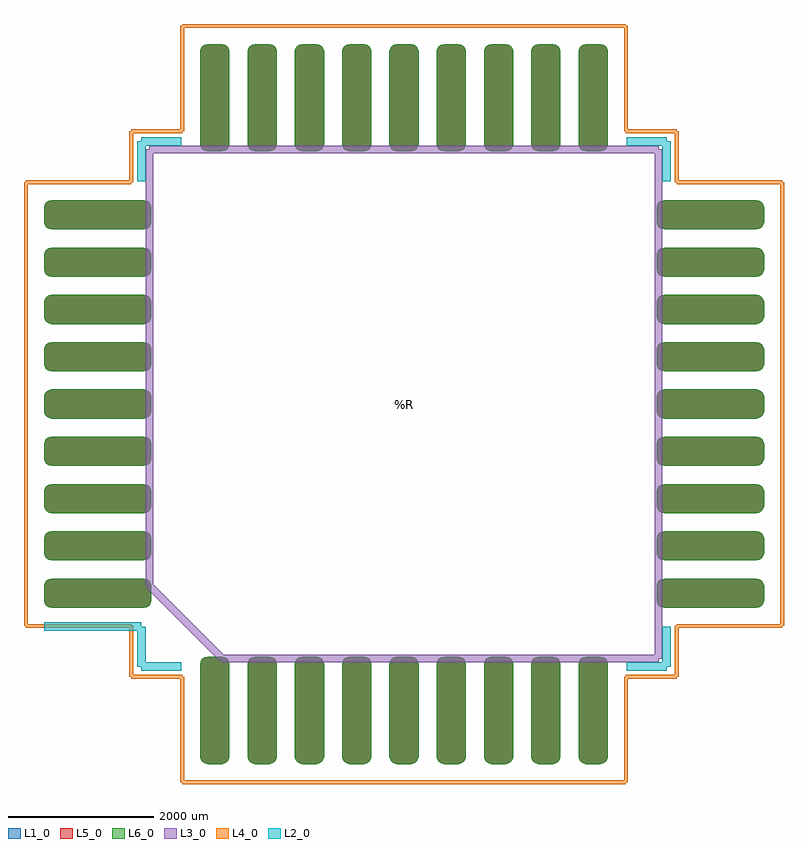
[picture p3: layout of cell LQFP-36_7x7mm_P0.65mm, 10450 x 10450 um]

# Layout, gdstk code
import gdstk
lib = gdstk.Library(unit=1e-6, precision=1e-09)
def P(c, l, *ps):  # polygons
    for p in ps: c.add(gdstk.Polygon(p, *l))
L1_0 = (1, 0)
L2_0 = (2, 0)
L3_0 = (3, 0)
L4_0 = (4, 0)
L5_0 = (5, 0)
L6_0 = (6, 0)

lqfp_36_7x7mm_p0_65mm = lib.new_cell('LQFP-36_7x7mm_P0.65mm')
P(lqfp_36_7x7mm_p0_65mm, L1_0, [(-3575,-2800),(-3537,-2792),(-3504,-2771),(-3483,-2738),(-3475,-2700),(-3475,-2500),(-3483,-2462),(-3504,-2429),(-3537,-2408),(-3575,-2400),(-4850,-2400),(-4888,-2408),(-4921,-2429),(-4942,-2462),(-4950,-2500),(-4950,-2700),(-4942,-2738),(-4921,-2771),(-4888,-2792),(-4850,-2800)],
  [(-3575,-2150),(-3537,-2142),(-3504,-2121),(-3483,-2088),(-3475,-2050),(-3475,-1850),(-3483,-1812),(-3504,-1779),(-3537,-1758),(-3575,-1750),(-4850,-1750),(-4888,-1758),(-4921,-1779),(-4942,-1812),(-4950,-1850),(-4950,-2050),(-4942,-2088),(-4921,-2121),(-4888,-2142),(-4850,-2150)],
  [(-3575,-1500),(-3537,-1492),(-3504,-1471),(-3483,-1438),(-3475,-1400),(-3475,-1200),(-3483,-1162),(-3504,-1129),(-3537,-1108),(-3575,-1100),(-4850,-1100),(-4888,-1108),(-4921,-1129),(-4942,-1162),(-4950,-1200),(-4950,-1400),(-4942,-1438),(-4921,-1471),(-4888,-1492),(-4850,-1500)],
  [(-3575,-850),(-3537,-842),(-3504,-821),(-3483,-788),(-3475,-750),(-3475,-550),(-3483,-512),(-3504,-479),(-3537,-458),(-3575,-450),(-4850,-450),(-4888,-458),(-4921,-479),(-4942,-512),(-4950,-550),(-4950,-750),(-4942,-788),(-4921,-821),(-4888,-842),(-4850,-850)],
  [(-3575,-200),(-3537,-192),(-3504,-171),(-3483,-138),(-3475,-100),(-3475,100),(-3483,138),(-3504,171),(-3537,192),(-3575,200),(-4850,200),(-4888,192),(-4921,171),(-4942,138),(-4950,100),(-4950,-100),(-4942,-138),(-4921,-171),(-4888,-192),(-4850,-200)],
  [(-3575,450),(-3537,458),(-3504,479),(-3483,512),(-3475,550),(-3475,750),(-3483,788),(-3504,821),(-3537,842),(-3575,850),(-4850,850),(-4888,842),(-4921,821),(-4942,788),(-4950,750),(-4950,550),(-4942,512),(-4921,479),(-4888,458),(-4850,450)],
  [(-3575,1100),(-3537,1108),(-3504,1129),(-3483,1162),(-3475,1200),(-3475,1400),(-3483,1438),(-3504,1471),(-3537,1492),(-3575,1500),(-4850,1500),(-4888,1492),(-4921,1471),(-4942,1438),(-4950,1400),(-4950,1200),(-4942,1162),(-4921,1129),(-4888,1108),(-4850,1100)],
  [(-3575,1750),(-3537,1758),(-3504,1779),(-3483,1812),(-3475,1850),(-3475,2050),(-3483,2088),(-3504,2121),(-3537,2142),(-3575,2150),(-4850,2150),(-4888,2142),(-4921,2121),(-4942,2088),(-4950,2050),(-4950,1850),(-4942,1812),(-4921,1779),(-4888,1758),(-4850,1750)],
  [(-3575,2400),(-3537,2408),(-3504,2429),(-3483,2462),(-3475,2500),(-3475,2700),(-3483,2738),(-3504,2771),(-3537,2792),(-3575,2800),(-4850,2800),(-4888,2792),(-4921,2771),(-4942,2738),(-4950,2700),(-4950,2500),(-4942,2462),(-4921,2429),(-4888,2408),(-4850,2400)],
  [(-2500,3475),(-2462,3483),(-2429,3504),(-2408,3537),(-2400,3575),(-2400,4850),(-2408,4888),(-2429,4921),(-2462,4942),(-2500,4950),(-2700,4950),(-2738,4942),(-2771,4921),(-2792,4888),(-2800,4850),(-2800,3575),(-2792,3537),(-2771,3504),(-2738,3483),(-2700,3475)],
  [(-1850,3475),(-1812,3483),(-1779,3504),(-1758,3537),(-1750,3575),(-1750,4850),(-1758,4888),(-1779,4921),(-1812,4942),(-1850,4950),(-2050,4950),(-2088,4942),(-2121,4921),(-2142,4888),(-2150,4850),(-2150,3575),(-2142,3537),(-2121,3504),(-2088,3483),(-2050,3475)],
  [(-1200,3475),(-1162,3483),(-1129,3504),(-1108,3537),(-1100,3575),(-1100,4850),(-1108,4888),(-1129,4921),(-1162,4942),(-1200,4950),(-1400,4950),(-1438,4942),(-1471,4921),(-1492,4888),(-1500,4850),(-1500,3575),(-1492,3537),(-1471,3504),(-1438,3483),(-1400,3475)],
  [(-550,3475),(-512,3483),(-479,3504),(-458,3537),(-450,3575),(-450,4850),(-458,4888),(-479,4921),(-512,4942),(-550,4950),(-750,4950),(-788,4942),(-821,4921),(-842,4888),(-850,4850),(-850,3575),(-842,3537),(-821,3504),(-788,3483),(-750,3475)],
  [(100,3475),(138,3483),(171,3504),(192,3537),(200,3575),(200,4850),(192,4888),(171,4921),(138,4942),(100,4950),(-100,4950),(-138,4942),(-171,4921),(-192,4888),(-200,4850),(-200,3575),(-192,3537),(-171,3504),(-138,3483),(-100,3475)],
  [(750,3475),(788,3483),(821,3504),(842,3537),(850,3575),(850,4850),(842,4888),(821,4921),(788,4942),(750,4950),(550,4950),(512,4942),(479,4921),(458,4888),(450,4850),(450,3575),(458,3537),(479,3504),(512,3483),(550,3475)],
  [(1400,3475),(1438,3483),(1471,3504),(1492,3537),(1500,3575),(1500,4850),(1492,4888),(1471,4921),(1438,4942),(1400,4950),(1200,4950),(1162,4942),(1129,4921),(1108,4888),(1100,4850),(1100,3575),(1108,3537),(1129,3504),(1162,3483),(1200,3475)],
  [(2050,3475),(2088,3483),(2121,3504),(2142,3537),(2150,3575),(2150,4850),(2142,4888),(2121,4921),(2088,4942),(2050,4950),(1850,4950),(1812,4942),(1779,4921),(1758,4888),(1750,4850),(1750,3575),(1758,3537),(1779,3504),(1812,3483),(1850,3475)],
  [(2700,3475),(2738,3483),(2771,3504),(2792,3537),(2800,3575),(2800,4850),(2792,4888),(2771,4921),(2738,4942),(2700,4950),(2500,4950),(2462,4942),(2429,4921),(2408,4888),(2400,4850),(2400,3575),(2408,3537),(2429,3504),(2462,3483),(2500,3475)],
  [(4850,2400),(4888,2408),(4921,2429),(4942,2462),(4950,2500),(4950,2700),(4942,2738),(4921,2771),(4888,2792),(4850,2800),(3575,2800),(3537,2792),(3504,2771),(3483,2738),(3475,2700),(3475,2500),(3483,2462),(3504,2429),(3537,2408),(3575,2400)],
  [(4850,1750),(4888,1758),(4921,1779),(4942,1812),(4950,1850),(4950,2050),(4942,2088),(4921,2121),(4888,2142),(4850,2150),(3575,2150),(3537,2142),(3504,2121),(3483,2088),(3475,2050),(3475,1850),(3483,1812),(3504,1779),(3537,1758),(3575,1750)],
  [(4850,1100),(4888,1108),(4921,1129),(4942,1162),(4950,1200),(4950,1400),(4942,1438),(4921,1471),(4888,1492),(4850,1500),(3575,1500),(3537,1492),(3504,1471),(3483,1438),(3475,1400),(3475,1200),(3483,1162),(3504,1129),(3537,1108),(3575,1100)],
  [(4850,450),(4888,458),(4921,479),(4942,512),(4950,550),(4950,750),(4942,788),(4921,821),(4888,842),(4850,850),(3575,850),(3537,842),(3504,821),(3483,788),(3475,750),(3475,550),(3483,512),(3504,479),(3537,458),(3575,450)],
  [(4850,-200),(4888,-192),(4921,-171),(4942,-138),(4950,-100),(4950,100),(4942,138),(4921,171),(4888,192),(4850,200),(3575,200),(3537,192),(3504,171),(3483,138),(3475,100),(3475,-100),(3483,-138),(3504,-171),(3537,-192),(3575,-200)],
  [(4850,-850),(4888,-842),(4921,-821),(4942,-788),(4950,-750),(4950,-550),(4942,-512),(4921,-479),(4888,-458),(4850,-450),(3575,-450),(3537,-458),(3504,-479),(3483,-512),(3475,-550),(3475,-750),(3483,-788),(3504,-821),(3537,-842),(3575,-850)],
  [(4850,-1500),(4888,-1492),(4921,-1471),(4942,-1438),(4950,-1400),(4950,-1200),(4942,-1162),(4921,-1129),(4888,-1108),(4850,-1100),(3575,-1100),(3537,-1108),(3504,-1129),(3483,-1162),(3475,-1200),(3475,-1400),(3483,-1438),(3504,-1471),(3537,-1492),(3575,-1500)],
  [(4850,-2150),(4888,-2142),(4921,-2121),(4942,-2088),(4950,-2050),(4950,-1850),(4942,-1812),(4921,-1779),(4888,-1758),(4850,-1750),(3575,-1750),(3537,-1758),(3504,-1779),(3483,-1812),(3475,-1850),(3475,-2050),(3483,-2088),(3504,-2121),(3537,-2142),(3575,-2150)],
  [(4850,-2800),(4888,-2792),(4921,-2771),(4942,-2738),(4950,-2700),(4950,-2500),(4942,-2462),(4921,-2429),(4888,-2408),(4850,-2400),(3575,-2400),(3537,-2408),(3504,-2429),(3483,-2462),(3475,-2500),(3475,-2700),(3483,-2738),(3504,-2771),(3537,-2792),(3575,-2800)],
  [(2700,-4950),(2738,-4942),(2771,-4921),(2792,-4888),(2800,-4850),(2800,-3575),(2792,-3537),(2771,-3504),(2738,-3483),(2700,-3475),(2500,-3475),(2462,-3483),(2429,-3504),(2408,-3537),(2400,-3575),(2400,-4850),(2408,-4888),(2429,-4921),(2462,-4942),(2500,-4950)],
  [(2050,-4950),(2088,-4942),(2121,-4921),(2142,-4888),(2150,-4850),(2150,-3575),(2142,-3537),(2121,-3504),(2088,-3483),(2050,-3475),(1850,-3475),(1812,-3483),(1779,-3504),(1758,-3537),(1750,-3575),(1750,-4850),(1758,-4888),(1779,-4921),(1812,-4942),(1850,-4950)],
  [(1400,-4950),(1438,-4942),(1471,-4921),(1492,-4888),(1500,-4850),(1500,-3575),(1492,-3537),(1471,-3504),(1438,-3483),(1400,-3475),(1200,-3475),(1162,-3483),(1129,-3504),(1108,-3537),(1100,-3575),(1100,-4850),(1108,-4888),(1129,-4921),(1162,-4942),(1200,-4950)],
  [(750,-4950),(788,-4942),(821,-4921),(842,-4888),(850,-4850),(850,-3575),(842,-3537),(821,-3504),(788,-3483),(750,-3475),(550,-3475),(512,-3483),(479,-3504),(458,-3537),(450,-3575),(450,-4850),(458,-4888),(479,-4921),(512,-4942),(550,-4950)],
  [(100,-4950),(138,-4942),(171,-4921),(192,-4888),(200,-4850),(200,-3575),(192,-3537),(171,-3504),(138,-3483),(100,-3475),(-100,-3475),(-138,-3483),(-171,-3504),(-192,-3537),(-200,-3575),(-200,-4850),(-192,-4888),(-171,-4921),(-138,-4942),(-100,-4950)],
  [(-550,-4950),(-512,-4942),(-479,-4921),(-458,-4888),(-450,-4850),(-450,-3575),(-458,-3537),(-479,-3504),(-512,-3483),(-550,-3475),(-750,-3475),(-788,-3483),(-821,-3504),(-842,-3537),(-850,-3575),(-850,-4850),(-842,-4888),(-821,-4921),(-788,-4942),(-750,-4950)],
  [(-1200,-4950),(-1162,-4942),(-1129,-4921),(-1108,-4888),(-1100,-4850),(-1100,-3575),(-1108,-3537),(-1129,-3504),(-1162,-3483),(-1200,-3475),(-1400,-3475),(-1438,-3483),(-1471,-3504),(-1492,-3537),(-1500,-3575),(-1500,-4850),(-1492,-4888),(-1471,-4921),(-1438,-4942),(-1400,-4950)],
  [(-1850,-4950),(-1812,-4942),(-1779,-4921),(-1758,-4888),(-1750,-4850),(-1750,-3575),(-1758,-3537),(-1779,-3504),(-1812,-3483),(-1850,-3475),(-2050,-3475),(-2088,-3483),(-2121,-3504),(-2142,-3537),(-2150,-3575),(-2150,-4850),(-2142,-4888),(-2121,-4921),(-2088,-4942),(-2050,-4950)],
  [(-2500,-4950),(-2462,-4942),(-2429,-4921),(-2408,-4888),(-2400,-4850),(-2400,-3575),(-2408,-3537),(-2429,-3504),(-2462,-3483),(-2500,-3475),(-2700,-3475),(-2738,-3483),(-2771,-3504),(-2792,-3537),(-2800,-3575),(-2800,-4850),(-2792,-4888),(-2771,-4921),(-2738,-4942),(-2700,-4950)])
P(lqfp_36_7x7mm_p0_65mm, L5_0, [(-3575,-2800),(-3537,-2792),(-3504,-2771),(-3483,-2738),(-3475,-2700),(-3475,-2500),(-3483,-2462),(-3504,-2429),(-3537,-2408),(-3575,-2400),(-4850,-2400),(-4888,-2408),(-4921,-2429),(-4942,-2462),(-4950,-2500),(-4950,-2700),(-4942,-2738),(-4921,-2771),(-4888,-2792),(-4850,-2800)],
  [(-3575,-2150),(-3537,-2142),(-3504,-2121),(-3483,-2088),(-3475,-2050),(-3475,-1850),(-3483,-1812),(-3504,-1779),(-3537,-1758),(-3575,-1750),(-4850,-1750),(-4888,-1758),(-4921,-1779),(-4942,-1812),(-4950,-1850),(-4950,-2050),(-4942,-2088),(-4921,-2121),(-4888,-2142),(-4850,-2150)],
  [(-3575,-1500),(-3537,-1492),(-3504,-1471),(-3483,-1438),(-3475,-1400),(-3475,-1200),(-3483,-1162),(-3504,-1129),(-3537,-1108),(-3575,-1100),(-4850,-1100),(-4888,-1108),(-4921,-1129),(-4942,-1162),(-4950,-1200),(-4950,-1400),(-4942,-1438),(-4921,-1471),(-4888,-1492),(-4850,-1500)],
  [(-3575,-850),(-3537,-842),(-3504,-821),(-3483,-788),(-3475,-750),(-3475,-550),(-3483,-512),(-3504,-479),(-3537,-458),(-3575,-450),(-4850,-450),(-4888,-458),(-4921,-479),(-4942,-512),(-4950,-550),(-4950,-750),(-4942,-788),(-4921,-821),(-4888,-842),(-4850,-850)],
  [(-3575,-200),(-3537,-192),(-3504,-171),(-3483,-138),(-3475,-100),(-3475,100),(-3483,138),(-3504,171),(-3537,192),(-3575,200),(-4850,200),(-4888,192),(-4921,171),(-4942,138),(-4950,100),(-4950,-100),(-4942,-138),(-4921,-171),(-4888,-192),(-4850,-200)],
  [(-3575,450),(-3537,458),(-3504,479),(-3483,512),(-3475,550),(-3475,750),(-3483,788),(-3504,821),(-3537,842),(-3575,850),(-4850,850),(-4888,842),(-4921,821),(-4942,788),(-4950,750),(-4950,550),(-4942,512),(-4921,479),(-4888,458),(-4850,450)],
  [(-3575,1100),(-3537,1108),(-3504,1129),(-3483,1162),(-3475,1200),(-3475,1400),(-3483,1438),(-3504,1471),(-3537,1492),(-3575,1500),(-4850,1500),(-4888,1492),(-4921,1471),(-4942,1438),(-4950,1400),(-4950,1200),(-4942,1162),(-4921,1129),(-4888,1108),(-4850,1100)],
  [(-3575,1750),(-3537,1758),(-3504,1779),(-3483,1812),(-3475,1850),(-3475,2050),(-3483,2088),(-3504,2121),(-3537,2142),(-3575,2150),(-4850,2150),(-4888,2142),(-4921,2121),(-4942,2088),(-4950,2050),(-4950,1850),(-4942,1812),(-4921,1779),(-4888,1758),(-4850,1750)],
  [(-3575,2400),(-3537,2408),(-3504,2429),(-3483,2462),(-3475,2500),(-3475,2700),(-3483,2738),(-3504,2771),(-3537,2792),(-3575,2800),(-4850,2800),(-4888,2792),(-4921,2771),(-4942,2738),(-4950,2700),(-4950,2500),(-4942,2462),(-4921,2429),(-4888,2408),(-4850,2400)],
  [(-2500,3475),(-2462,3483),(-2429,3504),(-2408,3537),(-2400,3575),(-2400,4850),(-2408,4888),(-2429,4921),(-2462,4942),(-2500,4950),(-2700,4950),(-2738,4942),(-2771,4921),(-2792,4888),(-2800,4850),(-2800,3575),(-2792,3537),(-2771,3504),(-2738,3483),(-2700,3475)],
  [(-1850,3475),(-1812,3483),(-1779,3504),(-1758,3537),(-1750,3575),(-1750,4850),(-1758,4888),(-1779,4921),(-1812,4942),(-1850,4950),(-2050,4950),(-2088,4942),(-2121,4921),(-2142,4888),(-2150,4850),(-2150,3575),(-2142,3537),(-2121,3504),(-2088,3483),(-2050,3475)],
  [(-1200,3475),(-1162,3483),(-1129,3504),(-1108,3537),(-1100,3575),(-1100,4850),(-1108,4888),(-1129,4921),(-1162,4942),(-1200,4950),(-1400,4950),(-1438,4942),(-1471,4921),(-1492,4888),(-1500,4850),(-1500,3575),(-1492,3537),(-1471,3504),(-1438,3483),(-1400,3475)],
  [(-550,3475),(-512,3483),(-479,3504),(-458,3537),(-450,3575),(-450,4850),(-458,4888),(-479,4921),(-512,4942),(-550,4950),(-750,4950),(-788,4942),(-821,4921),(-842,4888),(-850,4850),(-850,3575),(-842,3537),(-821,3504),(-788,3483),(-750,3475)],
  [(100,3475),(138,3483),(171,3504),(192,3537),(200,3575),(200,4850),(192,4888),(171,4921),(138,4942),(100,4950),(-100,4950),(-138,4942),(-171,4921),(-192,4888),(-200,4850),(-200,3575),(-192,3537),(-171,3504),(-138,3483),(-100,3475)],
  [(750,3475),(788,3483),(821,3504),(842,3537),(850,3575),(850,4850),(842,4888),(821,4921),(788,4942),(750,4950),(550,4950),(512,4942),(479,4921),(458,4888),(450,4850),(450,3575),(458,3537),(479,3504),(512,3483),(550,3475)],
  [(1400,3475),(1438,3483),(1471,3504),(1492,3537),(1500,3575),(1500,4850),(1492,4888),(1471,4921),(1438,4942),(1400,4950),(1200,4950),(1162,4942),(1129,4921),(1108,4888),(1100,4850),(1100,3575),(1108,3537),(1129,3504),(1162,3483),(1200,3475)],
  [(2050,3475),(2088,3483),(2121,3504),(2142,3537),(2150,3575),(2150,4850),(2142,4888),(2121,4921),(2088,4942),(2050,4950),(1850,4950),(1812,4942),(1779,4921),(1758,4888),(1750,4850),(1750,3575),(1758,3537),(1779,3504),(1812,3483),(1850,3475)],
  [(2700,3475),(2738,3483),(2771,3504),(2792,3537),(2800,3575),(2800,4850),(2792,4888),(2771,4921),(2738,4942),(2700,4950),(2500,4950),(2462,4942),(2429,4921),(2408,4888),(2400,4850),(2400,3575),(2408,3537),(2429,3504),(2462,3483),(2500,3475)],
  [(4850,2400),(4888,2408),(4921,2429),(4942,2462),(4950,2500),(4950,2700),(4942,2738),(4921,2771),(4888,2792),(4850,2800),(3575,2800),(3537,2792),(3504,2771),(3483,2738),(3475,2700),(3475,2500),(3483,2462),(3504,2429),(3537,2408),(3575,2400)],
  [(4850,1750),(4888,1758),(4921,1779),(4942,1812),(4950,1850),(4950,2050),(4942,2088),(4921,2121),(4888,2142),(4850,2150),(3575,2150),(3537,2142),(3504,2121),(3483,2088),(3475,2050),(3475,1850),(3483,1812),(3504,1779),(3537,1758),(3575,1750)],
  [(4850,1100),(4888,1108),(4921,1129),(4942,1162),(4950,1200),(4950,1400),(4942,1438),(4921,1471),(4888,1492),(4850,1500),(3575,1500),(3537,1492),(3504,1471),(3483,1438),(3475,1400),(3475,1200),(3483,1162),(3504,1129),(3537,1108),(3575,1100)],
  [(4850,450),(4888,458),(4921,479),(4942,512),(4950,550),(4950,750),(4942,788),(4921,821),(4888,842),(4850,850),(3575,850),(3537,842),(3504,821),(3483,788),(3475,750),(3475,550),(3483,512),(3504,479),(3537,458),(3575,450)],
  [(4850,-200),(4888,-192),(4921,-171),(4942,-138),(4950,-100),(4950,100),(4942,138),(4921,171),(4888,192),(4850,200),(3575,200),(3537,192),(3504,171),(3483,138),(3475,100),(3475,-100),(3483,-138),(3504,-171),(3537,-192),(3575,-200)],
  [(4850,-850),(4888,-842),(4921,-821),(4942,-788),(4950,-750),(4950,-550),(4942,-512),(4921,-479),(4888,-458),(4850,-450),(3575,-450),(3537,-458),(3504,-479),(3483,-512),(3475,-550),(3475,-750),(3483,-788),(3504,-821),(3537,-842),(3575,-850)],
  [(4850,-1500),(4888,-1492),(4921,-1471),(4942,-1438),(4950,-1400),(4950,-1200),(4942,-1162),(4921,-1129),(4888,-1108),(4850,-1100),(3575,-1100),(3537,-1108),(3504,-1129),(3483,-1162),(3475,-1200),(3475,-1400),(3483,-1438),(3504,-1471),(3537,-1492),(3575,-1500)],
  [(4850,-2150),(4888,-2142),(4921,-2121),(4942,-2088),(4950,-2050),(4950,-1850),(4942,-1812),(4921,-1779),(4888,-1758),(4850,-1750),(3575,-1750),(3537,-1758),(3504,-1779),(3483,-1812),(3475,-1850),(3475,-2050),(3483,-2088),(3504,-2121),(3537,-2142),(3575,-2150)],
  [(4850,-2800),(4888,-2792),(4921,-2771),(4942,-2738),(4950,-2700),(4950,-2500),(4942,-2462),(4921,-2429),(4888,-2408),(4850,-2400),(3575,-2400),(3537,-2408),(3504,-2429),(3483,-2462),(3475,-2500),(3475,-2700),(3483,-2738),(3504,-2771),(3537,-2792),(3575,-2800)],
  [(2700,-4950),(2738,-4942),(2771,-4921),(2792,-4888),(2800,-4850),(2800,-3575),(2792,-3537),(2771,-3504),(2738,-3483),(2700,-3475),(2500,-3475),(2462,-3483),(2429,-3504),(2408,-3537),(2400,-3575),(2400,-4850),(2408,-4888),(2429,-4921),(2462,-4942),(2500,-4950)],
  [(2050,-4950),(2088,-4942),(2121,-4921),(2142,-4888),(2150,-4850),(2150,-3575),(2142,-3537),(2121,-3504),(2088,-3483),(2050,-3475),(1850,-3475),(1812,-3483),(1779,-3504),(1758,-3537),(1750,-3575),(1750,-4850),(1758,-4888),(1779,-4921),(1812,-4942),(1850,-4950)],
  [(1400,-4950),(1438,-4942),(1471,-4921),(1492,-4888),(1500,-4850),(1500,-3575),(1492,-3537),(1471,-3504),(1438,-3483),(1400,-3475),(1200,-3475),(1162,-3483),(1129,-3504),(1108,-3537),(1100,-3575),(1100,-4850),(1108,-4888),(1129,-4921),(1162,-4942),(1200,-4950)],
  [(750,-4950),(788,-4942),(821,-4921),(842,-4888),(850,-4850),(850,-3575),(842,-3537),(821,-3504),(788,-3483),(750,-3475),(550,-3475),(512,-3483),(479,-3504),(458,-3537),(450,-3575),(450,-4850),(458,-4888),(479,-4921),(512,-4942),(550,-4950)],
  [(100,-4950),(138,-4942),(171,-4921),(192,-4888),(200,-4850),(200,-3575),(192,-3537),(171,-3504),(138,-3483),(100,-3475),(-100,-3475),(-138,-3483),(-171,-3504),(-192,-3537),(-200,-3575),(-200,-4850),(-192,-4888),(-171,-4921),(-138,-4942),(-100,-4950)],
  [(-550,-4950),(-512,-4942),(-479,-4921),(-458,-4888),(-450,-4850),(-450,-3575),(-458,-3537),(-479,-3504),(-512,-3483),(-550,-3475),(-750,-3475),(-788,-3483),(-821,-3504),(-842,-3537),(-850,-3575),(-850,-4850),(-842,-4888),(-821,-4921),(-788,-4942),(-750,-4950)],
  [(-1200,-4950),(-1162,-4942),(-1129,-4921),(-1108,-4888),(-1100,-4850),(-1100,-3575),(-1108,-3537),(-1129,-3504),(-1162,-3483),(-1200,-3475),(-1400,-3475),(-1438,-3483),(-1471,-3504),(-1492,-3537),(-1500,-3575),(-1500,-4850),(-1492,-4888),(-1471,-4921),(-1438,-4942),(-1400,-4950)],
  [(-1850,-4950),(-1812,-4942),(-1779,-4921),(-1758,-4888),(-1750,-4850),(-1750,-3575),(-1758,-3537),(-1779,-3504),(-1812,-3483),(-1850,-3475),(-2050,-3475),(-2088,-3483),(-2121,-3504),(-2142,-3537),(-2150,-3575),(-2150,-4850),(-2142,-4888),(-2121,-4921),(-2088,-4942),(-2050,-4950)],
  [(-2500,-4950),(-2462,-4942),(-2429,-4921),(-2408,-4888),(-2400,-4850),(-2400,-3575),(-2408,-3537),(-2429,-3504),(-2462,-3483),(-2500,-3475),(-2700,-3475),(-2738,-3483),(-2771,-3504),(-2792,-3537),(-2800,-3575),(-2800,-4850),(-2792,-4888),(-2771,-4921),(-2738,-4942),(-2700,-4950)])
P(lqfp_36_7x7mm_p0_65mm, L6_0, [(-3575,-2800),(-3537,-2792),(-3504,-2771),(-3483,-2738),(-3475,-2700),(-3475,-2500),(-3483,-2462),(-3504,-2429),(-3537,-2408),(-3575,-2400),(-4850,-2400),(-4888,-2408),(-4921,-2429),(-4942,-2462),(-4950,-2500),(-4950,-2700),(-4942,-2738),(-4921,-2771),(-4888,-2792),(-4850,-2800)],
  [(-3575,-2150),(-3537,-2142),(-3504,-2121),(-3483,-2088),(-3475,-2050),(-3475,-1850),(-3483,-1812),(-3504,-1779),(-3537,-1758),(-3575,-1750),(-4850,-1750),(-4888,-1758),(-4921,-1779),(-4942,-1812),(-4950,-1850),(-4950,-2050),(-4942,-2088),(-4921,-2121),(-4888,-2142),(-4850,-2150)],
  [(-3575,-1500),(-3537,-1492),(-3504,-1471),(-3483,-1438),(-3475,-1400),(-3475,-1200),(-3483,-1162),(-3504,-1129),(-3537,-1108),(-3575,-1100),(-4850,-1100),(-4888,-1108),(-4921,-1129),(-4942,-1162),(-4950,-1200),(-4950,-1400),(-4942,-1438),(-4921,-1471),(-4888,-1492),(-4850,-1500)],
  [(-3575,-850),(-3537,-842),(-3504,-821),(-3483,-788),(-3475,-750),(-3475,-550),(-3483,-512),(-3504,-479),(-3537,-458),(-3575,-450),(-4850,-450),(-4888,-458),(-4921,-479),(-4942,-512),(-4950,-550),(-4950,-750),(-4942,-788),(-4921,-821),(-4888,-842),(-4850,-850)],
  [(-3575,-200),(-3537,-192),(-3504,-171),(-3483,-138),(-3475,-100),(-3475,100),(-3483,138),(-3504,171),(-3537,192),(-3575,200),(-4850,200),(-4888,192),(-4921,171),(-4942,138),(-4950,100),(-4950,-100),(-4942,-138),(-4921,-171),(-4888,-192),(-4850,-200)],
  [(-3575,450),(-3537,458),(-3504,479),(-3483,512),(-3475,550),(-3475,750),(-3483,788),(-3504,821),(-3537,842),(-3575,850),(-4850,850),(-4888,842),(-4921,821),(-4942,788),(-4950,750),(-4950,550),(-4942,512),(-4921,479),(-4888,458),(-4850,450)],
  [(-3575,1100),(-3537,1108),(-3504,1129),(-3483,1162),(-3475,1200),(-3475,1400),(-3483,1438),(-3504,1471),(-3537,1492),(-3575,1500),(-4850,1500),(-4888,1492),(-4921,1471),(-4942,1438),(-4950,1400),(-4950,1200),(-4942,1162),(-4921,1129),(-4888,1108),(-4850,1100)],
  [(-3575,1750),(-3537,1758),(-3504,1779),(-3483,1812),(-3475,1850),(-3475,2050),(-3483,2088),(-3504,2121),(-3537,2142),(-3575,2150),(-4850,2150),(-4888,2142),(-4921,2121),(-4942,2088),(-4950,2050),(-4950,1850),(-4942,1812),(-4921,1779),(-4888,1758),(-4850,1750)],
  [(-3575,2400),(-3537,2408),(-3504,2429),(-3483,2462),(-3475,2500),(-3475,2700),(-3483,2738),(-3504,2771),(-3537,2792),(-3575,2800),(-4850,2800),(-4888,2792),(-4921,2771),(-4942,2738),(-4950,2700),(-4950,2500),(-4942,2462),(-4921,2429),(-4888,2408),(-4850,2400)],
  [(-2500,3475),(-2462,3483),(-2429,3504),(-2408,3537),(-2400,3575),(-2400,4850),(-2408,4888),(-2429,4921),(-2462,4942),(-2500,4950),(-2700,4950),(-2738,4942),(-2771,4921),(-2792,4888),(-2800,4850),(-2800,3575),(-2792,3537),(-2771,3504),(-2738,3483),(-2700,3475)],
  [(-1850,3475),(-1812,3483),(-1779,3504),(-1758,3537),(-1750,3575),(-1750,4850),(-1758,4888),(-1779,4921),(-1812,4942),(-1850,4950),(-2050,4950),(-2088,4942),(-2121,4921),(-2142,4888),(-2150,4850),(-2150,3575),(-2142,3537),(-2121,3504),(-2088,3483),(-2050,3475)],
  [(-1200,3475),(-1162,3483),(-1129,3504),(-1108,3537),(-1100,3575),(-1100,4850),(-1108,4888),(-1129,4921),(-1162,4942),(-1200,4950),(-1400,4950),(-1438,4942),(-1471,4921),(-1492,4888),(-1500,4850),(-1500,3575),(-1492,3537),(-1471,3504),(-1438,3483),(-1400,3475)],
  [(-550,3475),(-512,3483),(-479,3504),(-458,3537),(-450,3575),(-450,4850),(-458,4888),(-479,4921),(-512,4942),(-550,4950),(-750,4950),(-788,4942),(-821,4921),(-842,4888),(-850,4850),(-850,3575),(-842,3537),(-821,3504),(-788,3483),(-750,3475)],
  [(100,3475),(138,3483),(171,3504),(192,3537),(200,3575),(200,4850),(192,4888),(171,4921),(138,4942),(100,4950),(-100,4950),(-138,4942),(-171,4921),(-192,4888),(-200,4850),(-200,3575),(-192,3537),(-171,3504),(-138,3483),(-100,3475)],
  [(750,3475),(788,3483),(821,3504),(842,3537),(850,3575),(850,4850),(842,4888),(821,4921),(788,4942),(750,4950),(550,4950),(512,4942),(479,4921),(458,4888),(450,4850),(450,3575),(458,3537),(479,3504),(512,3483),(550,3475)],
  [(1400,3475),(1438,3483),(1471,3504),(1492,3537),(1500,3575),(1500,4850),(1492,4888),(1471,4921),(1438,4942),(1400,4950),(1200,4950),(1162,4942),(1129,4921),(1108,4888),(1100,4850),(1100,3575),(1108,3537),(1129,3504),(1162,3483),(1200,3475)],
  [(2050,3475),(2088,3483),(2121,3504),(2142,3537),(2150,3575),(2150,4850),(2142,4888),(2121,4921),(2088,4942),(2050,4950),(1850,4950),(1812,4942),(1779,4921),(1758,4888),(1750,4850),(1750,3575),(1758,3537),(1779,3504),(1812,3483),(1850,3475)],
  [(2700,3475),(2738,3483),(2771,3504),(2792,3537),(2800,3575),(2800,4850),(2792,4888),(2771,4921),(2738,4942),(2700,4950),(2500,4950),(2462,4942),(2429,4921),(2408,4888),(2400,4850),(2400,3575),(2408,3537),(2429,3504),(2462,3483),(2500,3475)],
  [(4850,2400),(4888,2408),(4921,2429),(4942,2462),(4950,2500),(4950,2700),(4942,2738),(4921,2771),(4888,2792),(4850,2800),(3575,2800),(3537,2792),(3504,2771),(3483,2738),(3475,2700),(3475,2500),(3483,2462),(3504,2429),(3537,2408),(3575,2400)],
  [(4850,1750),(4888,1758),(4921,1779),(4942,1812),(4950,1850),(4950,2050),(4942,2088),(4921,2121),(4888,2142),(4850,2150),(3575,2150),(3537,2142),(3504,2121),(3483,2088),(3475,2050),(3475,1850),(3483,1812),(3504,1779),(3537,1758),(3575,1750)],
  [(4850,1100),(4888,1108),(4921,1129),(4942,1162),(4950,1200),(4950,1400),(4942,1438),(4921,1471),(4888,1492),(4850,1500),(3575,1500),(3537,1492),(3504,1471),(3483,1438),(3475,1400),(3475,1200),(3483,1162),(3504,1129),(3537,1108),(3575,1100)],
  [(4850,450),(4888,458),(4921,479),(4942,512),(4950,550),(4950,750),(4942,788),(4921,821),(4888,842),(4850,850),(3575,850),(3537,842),(3504,821),(3483,788),(3475,750),(3475,550),(3483,512),(3504,479),(3537,458),(3575,450)],
  [(4850,-200),(4888,-192),(4921,-171),(4942,-138),(4950,-100),(4950,100),(4942,138),(4921,171),(4888,192),(4850,200),(3575,200),(3537,192),(3504,171),(3483,138),(3475,100),(3475,-100),(3483,-138),(3504,-171),(3537,-192),(3575,-200)],
  [(4850,-850),(4888,-842),(4921,-821),(4942,-788),(4950,-750),(4950,-550),(4942,-512),(4921,-479),(4888,-458),(4850,-450),(3575,-450),(3537,-458),(3504,-479),(3483,-512),(3475,-550),(3475,-750),(3483,-788),(3504,-821),(3537,-842),(3575,-850)],
  [(4850,-1500),(4888,-1492),(4921,-1471),(4942,-1438),(4950,-1400),(4950,-1200),(4942,-1162),(4921,-1129),(4888,-1108),(4850,-1100),(3575,-1100),(3537,-1108),(3504,-1129),(3483,-1162),(3475,-1200),(3475,-1400),(3483,-1438),(3504,-1471),(3537,-1492),(3575,-1500)],
  [(4850,-2150),(4888,-2142),(4921,-2121),(4942,-2088),(4950,-2050),(4950,-1850),(4942,-1812),(4921,-1779),(4888,-1758),(4850,-1750),(3575,-1750),(3537,-1758),(3504,-1779),(3483,-1812),(3475,-1850),(3475,-2050),(3483,-2088),(3504,-2121),(3537,-2142),(3575,-2150)],
  [(4850,-2800),(4888,-2792),(4921,-2771),(4942,-2738),(4950,-2700),(4950,-2500),(4942,-2462),(4921,-2429),(4888,-2408),(4850,-2400),(3575,-2400),(3537,-2408),(3504,-2429),(3483,-2462),(3475,-2500),(3475,-2700),(3483,-2738),(3504,-2771),(3537,-2792),(3575,-2800)],
  [(2700,-4950),(2738,-4942),(2771,-4921),(2792,-4888),(2800,-4850),(2800,-3575),(2792,-3537),(2771,-3504),(2738,-3483),(2700,-3475),(2500,-3475),(2462,-3483),(2429,-3504),(2408,-3537),(2400,-3575),(2400,-4850),(2408,-4888),(2429,-4921),(2462,-4942),(2500,-4950)],
  [(2050,-4950),(2088,-4942),(2121,-4921),(2142,-4888),(2150,-4850),(2150,-3575),(2142,-3537),(2121,-3504),(2088,-3483),(2050,-3475),(1850,-3475),(1812,-3483),(1779,-3504),(1758,-3537),(1750,-3575),(1750,-4850),(1758,-4888),(1779,-4921),(1812,-4942),(1850,-4950)],
  [(1400,-4950),(1438,-4942),(1471,-4921),(1492,-4888),(1500,-4850),(1500,-3575),(1492,-3537),(1471,-3504),(1438,-3483),(1400,-3475),(1200,-3475),(1162,-3483),(1129,-3504),(1108,-3537),(1100,-3575),(1100,-4850),(1108,-4888),(1129,-4921),(1162,-4942),(1200,-4950)],
  [(750,-4950),(788,-4942),(821,-4921),(842,-4888),(850,-4850),(850,-3575),(842,-3537),(821,-3504),(788,-3483),(750,-3475),(550,-3475),(512,-3483),(479,-3504),(458,-3537),(450,-3575),(450,-4850),(458,-4888),(479,-4921),(512,-4942),(550,-4950)],
  [(100,-4950),(138,-4942),(171,-4921),(192,-4888),(200,-4850),(200,-3575),(192,-3537),(171,-3504),(138,-3483),(100,-3475),(-100,-3475),(-138,-3483),(-171,-3504),(-192,-3537),(-200,-3575),(-200,-4850),(-192,-4888),(-171,-4921),(-138,-4942),(-100,-4950)],
  [(-550,-4950),(-512,-4942),(-479,-4921),(-458,-4888),(-450,-4850),(-450,-3575),(-458,-3537),(-479,-3504),(-512,-3483),(-550,-3475),(-750,-3475),(-788,-3483),(-821,-3504),(-842,-3537),(-850,-3575),(-850,-4850),(-842,-4888),(-821,-4921),(-788,-4942),(-750,-4950)],
  [(-1200,-4950),(-1162,-4942),(-1129,-4921),(-1108,-4888),(-1100,-4850),(-1100,-3575),(-1108,-3537),(-1129,-3504),(-1162,-3483),(-1200,-3475),(-1400,-3475),(-1438,-3483),(-1471,-3504),(-1492,-3537),(-1500,-3575),(-1500,-4850),(-1492,-4888),(-1471,-4921),(-1438,-4942),(-1400,-4950)],
  [(-1850,-4950),(-1812,-4942),(-1779,-4921),(-1758,-4888),(-1750,-4850),(-1750,-3575),(-1758,-3537),(-1779,-3504),(-1812,-3483),(-1850,-3475),(-2050,-3475),(-2088,-3483),(-2121,-3504),(-2142,-3537),(-2150,-3575),(-2150,-4850),(-2142,-4888),(-2121,-4921),(-2088,-4942),(-2050,-4950)],
  [(-2500,-4950),(-2462,-4942),(-2429,-4921),(-2408,-4888),(-2400,-4850),(-2400,-3575),(-2408,-3537),(-2429,-3504),(-2462,-3483),(-2500,-3475),(-2700,-3475),(-2738,-3483),(-2771,-3504),(-2792,-3537),(-2800,-3575),(-2800,-4850),(-2792,-4888),(-2771,-4921),(-2738,-4942),(-2700,-4950)])
lqfp_36_7x7mm_p0_65mm.add(gdstk.FlexPath([(3060,3610),(3610,3610)], 120, ends="flush", simple_path=True, layer=2, datatype=0))  # L2_0
lqfp_36_7x7mm_p0_65mm.add(gdstk.FlexPath([(3610,3610),(3610,3060)], 120, ends="flush", simple_path=True, layer=2, datatype=0))  # L2_0
lqfp_36_7x7mm_p0_65mm.add(gdstk.FlexPath([(-3060,3610),(-3610,3610)], 120, ends="flush", simple_path=True, layer=2, datatype=0))  # L2_0
lqfp_36_7x7mm_p0_65mm.add(gdstk.FlexPath([(-3610,3610),(-3610,3060)], 120, ends="flush", simple_path=True, layer=2, datatype=0))  # L2_0
lqfp_36_7x7mm_p0_65mm.add(gdstk.FlexPath([(3060,-3610),(3610,-3610)], 120, ends="flush", simple_path=True, layer=2, datatype=0))  # L2_0
lqfp_36_7x7mm_p0_65mm.add(gdstk.FlexPath([(3610,-3610),(3610,-3060)], 120, ends="flush", simple_path=True, layer=2, datatype=0))  # L2_0
lqfp_36_7x7mm_p0_65mm.add(gdstk.FlexPath([(-3060,-3610),(-3610,-3610)], 120, ends="flush", simple_path=True, layer=2, datatype=0))  # L2_0
lqfp_36_7x7mm_p0_65mm.add(gdstk.FlexPath([(-3610,-3610),(-3610,-3060)], 120, ends="flush", simple_path=True, layer=2, datatype=0))  # L2_0
lqfp_36_7x7mm_p0_65mm.add(gdstk.FlexPath([(-3610,-3060),(-4950,-3060)], 120, ends="flush", simple_path=True, layer=2, datatype=0))  # L2_0
lqfp_36_7x7mm_p0_65mm.add(gdstk.FlexPath([(-2500,-3500),(3500,-3500)], 100, ends="flush", simple_path=True, layer=3, datatype=0))  # L3_0
lqfp_36_7x7mm_p0_65mm.add(gdstk.FlexPath([(3500,-3500),(3500,3500)], 100, ends="flush", simple_path=True, layer=3, datatype=0))  # L3_0
lqfp_36_7x7mm_p0_65mm.add(gdstk.FlexPath([(3500,3500),(-3500,3500)], 100, ends="flush", simple_path=True, layer=3, datatype=0))  # L3_0
lqfp_36_7x7mm_p0_65mm.add(gdstk.FlexPath([(-3500,3500),(-3500,-2500)], 100, ends="flush", simple_path=True, layer=3, datatype=0))  # L3_0
lqfp_36_7x7mm_p0_65mm.add(gdstk.FlexPath([(-3500,-2500),(-2500,-3500)], 100, ends="flush", simple_path=True, layer=3, datatype=0))  # L3_0
lqfp_36_7x7mm_p0_65mm.add(gdstk.FlexPath([(0,-5200),(-3050,-5200)], 50, ends="flush", simple_path=True, layer=4, datatype=0))  # L4_0
lqfp_36_7x7mm_p0_65mm.add(gdstk.FlexPath([(-3050,-5200),(-3050,-3750)], 50, ends="flush", simple_path=True, layer=4, datatype=0))  # L4_0
lqfp_36_7x7mm_p0_65mm.add(gdstk.FlexPath([(-3050,-3750),(-3750,-3750)], 50, ends="flush", simple_path=True, layer=4, datatype=0))  # L4_0
lqfp_36_7x7mm_p0_65mm.add(gdstk.FlexPath([(-3750,-3750),(-3750,-3050)], 50, ends="flush", simple_path=True, layer=4, datatype=0))  # L4_0
lqfp_36_7x7mm_p0_65mm.add(gdstk.FlexPath([(-3750,-3050),(-5200,-3050)], 50, ends="flush", simple_path=True, layer=4, datatype=0))  # L4_0
lqfp_36_7x7mm_p0_65mm.add(gdstk.FlexPath([(-5200,-3050),(-5200,0)], 50, ends="flush", simple_path=True, layer=4, datatype=0))  # L4_0
lqfp_36_7x7mm_p0_65mm.add(gdstk.FlexPath([(0,-5200),(3050,-5200)], 50, ends="flush", simple_path=True, layer=4, datatype=0))  # L4_0
lqfp_36_7x7mm_p0_65mm.add(gdstk.FlexPath([(3050,-5200),(3050,-3750)], 50, ends="flush", simple_path=True, layer=4, datatype=0))  # L4_0
lqfp_36_7x7mm_p0_65mm.add(gdstk.FlexPath([(3050,-3750),(3750,-3750)], 50, ends="flush", simple_path=True, layer=4, datatype=0))  # L4_0
lqfp_36_7x7mm_p0_65mm.add(gdstk.FlexPath([(3750,-3750),(3750,-3050)], 50, ends="flush", simple_path=True, layer=4, datatype=0))  # L4_0
lqfp_36_7x7mm_p0_65mm.add(gdstk.FlexPath([(3750,-3050),(5200,-3050)], 50, ends="flush", simple_path=True, layer=4, datatype=0))  # L4_0
lqfp_36_7x7mm_p0_65mm.add(gdstk.FlexPath([(5200,-3050),(5200,0)], 50, ends="flush", simple_path=True, layer=4, datatype=0))  # L4_0
lqfp_36_7x7mm_p0_65mm.add(gdstk.FlexPath([(0,5200),(-3050,5200)], 50, ends="flush", simple_path=True, layer=4, datatype=0))  # L4_0
lqfp_36_7x7mm_p0_65mm.add(gdstk.FlexPath([(-3050,5200),(-3050,3750)], 50, ends="flush", simple_path=True, layer=4, datatype=0))  # L4_0
lqfp_36_7x7mm_p0_65mm.add(gdstk.FlexPath([(-3050,3750),(-3750,3750)], 50, ends="flush", simple_path=True, layer=4, datatype=0))  # L4_0
lqfp_36_7x7mm_p0_65mm.add(gdstk.FlexPath([(-3750,3750),(-3750,3050)], 50, ends="flush", simple_path=True, layer=4, datatype=0))  # L4_0
lqfp_36_7x7mm_p0_65mm.add(gdstk.FlexPath([(-3750,3050),(-5200,3050)], 50, ends="flush", simple_path=True, layer=4, datatype=0))  # L4_0
lqfp_36_7x7mm_p0_65mm.add(gdstk.FlexPath([(-5200,3050),(-5200,0)], 50, ends="flush", simple_path=True, layer=4, datatype=0))  # L4_0
lqfp_36_7x7mm_p0_65mm.add(gdstk.FlexPath([(0,5200),(3050,5200)], 50, ends="flush", simple_path=True, layer=4, datatype=0))  # L4_0
lqfp_36_7x7mm_p0_65mm.add(gdstk.FlexPath([(3050,5200),(3050,3750)], 50, ends="flush", simple_path=True, layer=4, datatype=0))  # L4_0
lqfp_36_7x7mm_p0_65mm.add(gdstk.FlexPath([(3050,3750),(3750,3750)], 50, ends="flush", simple_path=True, layer=4, datatype=0))  # L4_0
lqfp_36_7x7mm_p0_65mm.add(gdstk.FlexPath([(3750,3750),(3750,3050)], 50, ends="flush", simple_path=True, layer=4, datatype=0))  # L4_0
lqfp_36_7x7mm_p0_65mm.add(gdstk.FlexPath([(3750,3050),(5200,3050)], 50, ends="flush", simple_path=True, layer=4, datatype=0))  # L4_0
lqfp_36_7x7mm_p0_65mm.add(gdstk.FlexPath([(5200,3050),(5200,0)], 50, ends="flush", simple_path=True, layer=4, datatype=0))  # L4_0
lqfp_36_7x7mm_p0_65mm.add(gdstk.Label('REF**', (0,-5900), layer=2, texttype=0))
lqfp_36_7x7mm_p0_65mm.add(gdstk.Label('LQFP-36_7x7mm_P0.65mm', (0,5900), layer=3, texttype=0))
lqfp_36_7x7mm_p0_65mm.add(gdstk.Label('%R', (0,0), layer=3, texttype=0))

lib.write_gds('LQFP-36_7x7mm_P0.65mm.gds')
